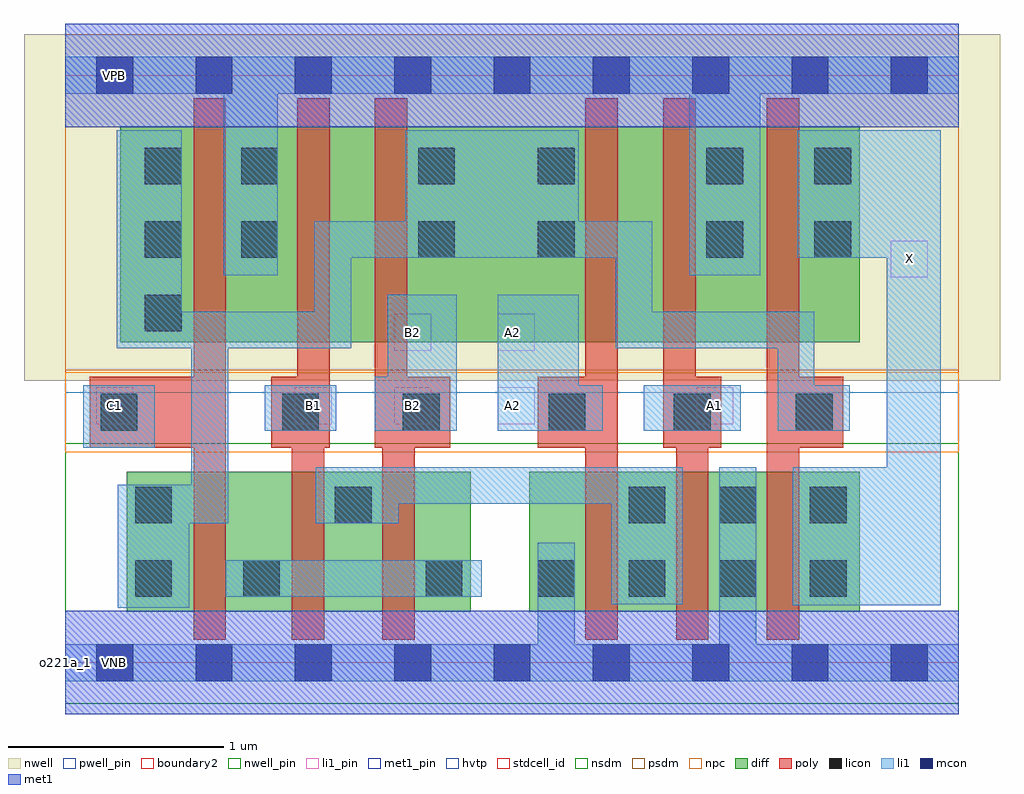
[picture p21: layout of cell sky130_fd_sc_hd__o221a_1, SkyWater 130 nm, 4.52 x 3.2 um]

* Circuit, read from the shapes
.subckt sky130_fd_sc_hd__o221a_1 A1 A2 B1 B2 C1 VGND VNB VPB VPWR X
XM1 n1 C1 n2 VNB sky130_fd_pr__nfet_01v8 w=0.65 l=0.15
XM2 n3 B1 n1 VNB sky130_fd_pr__nfet_01v8 w=0.65 l=0.15
XM3 n1 B2 n3 VNB sky130_fd_pr__nfet_01v8 w=0.65 l=0.15
XM4 n3 A2 VGND VNB sky130_fd_pr__nfet_01v8 w=0.65 l=0.15
XM5 VGND A1 n3 VNB sky130_fd_pr__nfet_01v8 w=0.65 l=0.15
XM6 X n2 VGND VNB sky130_fd_pr__nfet_01v8 w=0.65 l=0.15
XM7 VPWR C1 n2 VPB sky130_fd_pr__pfet_01v8_hvt w=1 l=0.15
XM8 n4 B1 VPWR VPB sky130_fd_pr__pfet_01v8_hvt w=1 l=0.15
XM9 n2 B2 n4 VPB sky130_fd_pr__pfet_01v8_hvt w=1 l=0.15
XM10 n5 A2 n2 VPB sky130_fd_pr__pfet_01v8_hvt w=1 l=0.15
XM11 VPWR A1 n5 VPB sky130_fd_pr__pfet_01v8_hvt w=1 l=0.15
XM12 X n2 VPWR VPB sky130_fd_pr__pfet_01v8_hvt w=1 l=0.15
.ends

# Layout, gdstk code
import gdstk
lib = gdstk.Library(unit=1e-6, precision=1e-09)
def R(c, l, rs):  # rectangles x0, y0, x1, y1
    for r in rs: c.add(gdstk.rectangle(r[:2], r[2:], *l))
def A(c, l, x, y, w, h, nx, ny, dx, dy):  # array of equal rectangles
    R(c, l, [(x+i*dx, y+j*dy, x+i*dx+w, y+j*dy+h) for i in range(nx) for j in range(ny)])
def P(c, l, *ps):  # polygons
    for p in ps: c.add(gdstk.Polygon(p, *l))
nwell_pin = (64, 16)
nwell = (64, 20)
diff = (65, 20)
poly = (66, 20)
licon = (66, 44)
li1_pin = (67, 16)
li1 = (67, 20)
mcon = (67, 44)
met1_pin = (68, 16)
met1 = (68, 20)
hvtp = (78, 44)
stdcell_id = (81, 4)
nsdm = (93, 44)
psdm = (94, 20)
npc = (95, 20)
pwell_pin = (122, 16)
boundary2 = (236, 0)

sky130_fd_sc_hd__o221a_1 = lib.new_cell('sky130_fd_sc_hd__o221a_1')
R(sky130_fd_sc_hd__o221a_1, nwell_pin, [(0.145,2.635,0.315,2.805)])
R(sky130_fd_sc_hd__o221a_1, nwell, [(-0.19,1.305,4.33,2.91)])
R(sky130_fd_sc_hd__o221a_1, diff, [(0.285,0.235,1.88,0.885), (2.15,0.235,3.68,0.885), (0.255,1.485,3.68,2.485)])
P(sky130_fd_sc_hd__o221a_1, poly, [(0.745,2.615),(0.595,2.615),(0.595,1.325),(0.115,1.325),(0.115,0.995),(0.595,0.995),(0.595,0.105),(0.745,0.105)],
  [(1.225,2.615),(1.075,2.615),(1.075,1.325),(0.955,1.325),(0.955,0.995),(1.05,0.995),(1.05,0.105),(1.2,0.105),(1.2,0.995),(1.225,0.995)],
  [(1.785,1.325),(1.585,1.325),(1.585,2.615),(1.435,2.615),(1.435,0.995),(1.47,0.995),(1.47,0.105),(1.62,0.105),(1.62,0.995),(1.785,0.995)],
  [(2.56,2.615),(2.41,2.615),(2.41,1.325),(2.19,1.325),(2.19,0.995),(2.41,0.995),(2.41,0.105),(2.56,0.105)],
  [(3.04,1.325),(2.92,1.325),(2.92,2.615),(2.77,2.615),(2.77,0.995),(2.83,0.995),(2.83,0.105),(2.98,0.105),(2.98,0.995),(3.04,0.995)],
  [(3.605,1.325),(3.4,1.325),(3.4,2.615),(3.25,2.615),(3.25,0.105),(3.4,0.105),(3.4,0.995),(3.605,0.995)])
A(sky130_fd_sc_hd__o221a_1, licon, 2.19, 0.305, 0.17, 0.17, 4, 1, 0.42, 0)
A(sky130_fd_sc_hd__o221a_1, licon, 2.61, 0.645, 0.17, 0.17, 3, 1, 0.42, 0)
A(sky130_fd_sc_hd__o221a_1, licon, 0.37, 1.535, 0.17, 0.17, 1, 3, 0, 0.34)
R(sky130_fd_sc_hd__o221a_1, licon, [(0.325,0.305,0.495,0.475), (0.825,0.305,0.995,0.475), (1.67,0.305,1.84,0.475), (0.325,0.645,0.495,0.815), (1.25,0.645,1.42,0.815), (0.165,1.075,0.335,1.245), (1.005,1.075,1.175,1.245), (1.565,1.075,1.735,1.245), (2.24,1.075,2.41,1.245), (2.82,1.075,2.99,1.245), (3.385,1.075,3.555,1.245), (0.815,1.875,0.985,2.045), (1.635,1.875,1.805,2.045), (2.19,1.875,2.36,2.045), (2.97,1.875,3.14,2.045), (3.47,1.875,3.64,2.045), (0.815,2.215,0.985,2.385), (1.635,2.215,1.805,2.385), (2.19,2.215,2.36,2.385), (2.97,2.215,3.14,2.385), (3.47,2.215,3.64,2.385)])
R(sky130_fd_sc_hd__o221a_1, li1_pin, [(0.145,1.105,0.315,1.275), (1.065,1.105,1.235,1.275), (1.525,1.105,1.695,1.275), (2.005,1.105,2.175,1.275), (2.925,1.105,3.095,1.275), (1.525,1.445,1.695,1.615), (2.005,1.445,2.175,1.615), (3.825,1.785,3.995,1.955)])
R(sky130_fd_sc_hd__o221a_1, li1, [(0.745,0.305,1.93,0.475), (0.085,0.995,0.415,1.285), (0.925,1.075,1.255,1.285), (2.68,1.075,3.13,1.285)])
P(sky130_fd_sc_hd__o221a_1, li1, [(4.14,0.085),(3.2,0.085),(3.2,0.905),(3.03,0.905),(3.03,0.085),(2.36,0.085),(2.36,0.555),(2.19,0.555),(2.19,0.085),(0,0.085),(0,-0.085),(4.14,-0.085)],
  [(4.14,2.805),(0,2.805),(0,2.635),(0.735,2.635),(0.735,1.795),(0.985,1.795),(0.985,2.635),(2.89,2.635),(2.89,1.795),(3.22,1.795),(3.22,2.635),(4.14,2.635)],
  [(1.815,1.705),(1.495,1.705),(1.495,1.325),(1.435,1.325),(1.435,1.075),(1.815,1.075)],
  [(2.49,1.285),(2.38,1.285),(2.38,1.705),(2.005,1.705),(2.005,1.075),(2.49,1.075)],
  [(2.86,0.905),(1.16,0.905),(1.16,0.645),(1.545,0.645),(1.545,0.735),(2.53,0.735),(2.53,0.27),(2.86,0.27)],
  [(3.635,1.285),(3.47,1.285),(3.47,1.625),(2.72,1.625),(2.72,2.045),(2.38,2.045),(2.38,2.465),(1.575,2.465),(1.575,2.045),(1.155,2.045),(1.155,1.625),(0.54,1.625),(0.54,2.465),(0.24,2.465),(0.24,1.455),(0.585,1.455),(0.585,0.825),(0.245,0.825),(0.245,0.255),(0.575,0.255),(0.575,0.645),(0.755,0.645),(0.755,1.455),(1.325,1.455),(1.325,1.875),(2.55,1.875),(2.55,1.455),(3.3,1.455),(3.3,1.075),(3.635,1.075)],
  [(4.055,2.465),(3.39,2.465),(3.39,1.875),(3.805,1.875),(3.805,0.905),(3.37,0.905),(3.37,0.265),(4.055,0.265)])
A(sky130_fd_sc_hd__o221a_1, mcon, 0.145, -0.085, 0.17, 0.17, 9, 2, 0.46, 2.72)
R(sky130_fd_sc_hd__o221a_1, met1_pin, [(0.145,-0.085,0.315,0.085), (0.145,2.635,0.315,2.805)])
R(sky130_fd_sc_hd__o221a_1, hvtp, [(0,1.25,4.14,2.72)])
R(sky130_fd_sc_hd__o221a_1, stdcell_id, [(0,0,4.14,2.72)])
R(sky130_fd_sc_hd__o221a_1, nsdm, [(0,-0.19,4.14,1.015)])
R(sky130_fd_sc_hd__o221a_1, psdm, [(0,1.355,4.14,2.91)])
R(sky130_fd_sc_hd__o221a_1, npc, [(0,0.975,4.14,1.345)])
R(sky130_fd_sc_hd__o221a_1, pwell_pin, [(0.145,-0.085,0.315,0.085)])
R(sky130_fd_sc_hd__o221a_1, boundary2, [(0,0,4.14,2.72)])
sky130_fd_sc_hd__o221a_1.add(gdstk.FlexPath([(0,2.72),(4.14,2.72)], 0.48, ends="flush", simple_path=True, layer=68, datatype=20))  # met1
sky130_fd_sc_hd__o221a_1.add(gdstk.FlexPath([(0,0),(4.14,0)], 0.48, ends="flush", simple_path=True, layer=68, datatype=20))  # met1
sky130_fd_sc_hd__o221a_1.add(gdstk.Label('A2', (2.07,1.19), layer=67, texttype=5))
sky130_fd_sc_hd__o221a_1.add(gdstk.Label('X', (3.91,1.87), layer=67, texttype=5))
sky130_fd_sc_hd__o221a_1.add(gdstk.Label('B1', (1.15,1.19), layer=67, texttype=5))
sky130_fd_sc_hd__o221a_1.add(gdstk.Label('C1', (0.23,1.19), layer=67, texttype=5))
sky130_fd_sc_hd__o221a_1.add(gdstk.Label('A1', (3.01,1.19), layer=67, texttype=5))
sky130_fd_sc_hd__o221a_1.add(gdstk.Label('A2', (2.07,1.53), layer=67, texttype=5))
sky130_fd_sc_hd__o221a_1.add(gdstk.Label('B2', (1.61,1.19), layer=67, texttype=5))
sky130_fd_sc_hd__o221a_1.add(gdstk.Label('B2', (1.61,1.53), layer=67, texttype=5))
sky130_fd_sc_hd__o221a_1.add(gdstk.Label('VPB', (0.23,2.72), layer=64, texttype=5))
sky130_fd_sc_hd__o221a_1.add(gdstk.Label('VNB', (0.23,0), layer=64, texttype=59))
sky130_fd_sc_hd__o221a_1.add(gdstk.Label('VGND', (0.23,0), layer=68, texttype=5))
sky130_fd_sc_hd__o221a_1.add(gdstk.Label('VPWR', (0.23,2.72), layer=68, texttype=5))
sky130_fd_sc_hd__o221a_1.add(gdstk.Label('o221a_1', (0,0), layer=83, texttype=44))

lib.write_gds('sky130_fd_sc_hd__o221a_1.gds')
